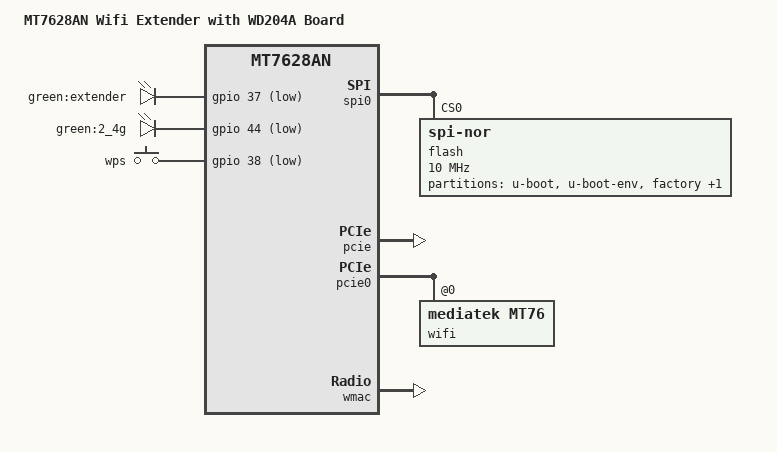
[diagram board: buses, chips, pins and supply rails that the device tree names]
#include "mt7628an.dtsi"

#include <dt-bindings/gpio/gpio.h>
#include <dt-bindings/input/input.h>


/ {
       compatible = "noname,wd204a", "mediatek,mt7628an-soc";
       model = "MT7628AN Wifi Extender with WD204A Board";

        chosen {
                bootargs = "console=ttyS0,57600n8 root=/dev/mtdblock5 print-fatal-signals=1";
        };

        aliases {
                label-mac-device = &ethernet;
        };

        leds {
                compatible = "gpio-leds";

                extender {
                        label = "green:extender";
                        gpios = <&gpio 37 GPIO_ACTIVE_LOW>;
                };
                2_4g {
                        label = "green:2_4g";
                        gpios = <&gpio 44 GPIO_ACTIVE_LOW>;
                };
        };


        keys {
                compatible = "gpio-keys";

                wps {
                        label = "wps";
                        gpios = <&gpio 38 GPIO_ACTIVE_LOW>;
                        linux,code = <KEY_WPS_BUTTON>;
                };
        };
};

&state_default {
       gpio {
               groups = "gpio", "refclk", "wdt", "wled_an", "uart1";
               function = "gpio";
       };
};

&spi0 {
       status = "okay";

       flash@0 {
               compatible = "jedec,spi-nor";
               reg = <0>;
               spi-max-frequency = <10000000>;

               partitions {
                       compatible = "fixed-partitions";
                       #address-cells = <1>;
                       #size-cells = <1>;

                       partition@0 {
                               label = "u-boot";
                               reg = <0x0 0x30000>;
                               read-only;
                       };

                       partition@30000 {
                               label = "u-boot-env";
                               reg = <0x30000 0x10000>;
                               read-only;
                       };

                       factory: partition@40000 {
                               label = "factory";
                               reg = <0x40000 0x10000>;
                               read-only;
                       };

                       partition@50000 {
                               compatible = "denx,uimage";
                               label = "firmware";
                               reg = <0x50000 0x7b0000>;
                       };
               };
       };
};

&pcie {
        status = "okay";
};

&pcie0 {
        wifi@0,0 {
                compatible = "mediatek,mt76";
                reg = <0x0000 0 0 0 0>;
                mediatek,mtd-eeprom = <&factory 0x8000>;
                ieee80211-freq-limit = <5000000 6000000>;
        };
};

&ethernet {
        nvmem-cells = <&macaddr_factory_28>;
        nvmem-cell-names = "mac-address";
};

&wmac {
        mediatek,mtd-eeprom = <&factory 0x0>;
	status = "okay";	
};

&esw {
        mediatek,portmap = <0x3e>;
 	mediatek,portdisable = <0x37>;
};

&ehci {
        status = "disabled";
};

&ohci {
        status = "disabled";
};

&factory {
        compatible = "nvmem-cells";
        #address-cells = <1>;
        #size-cells = <1>;

        macaddr_factory_4: macaddr@4 {
                reg = <0x4 0x6>;
        };

        macaddr_factory_28: macaddr@28 {
                reg = <0x28 0x6>;
        };
        macaddr_factory_8004: macaddr@8004 {
                reg = <0x8004 0x6>;
        };
};


